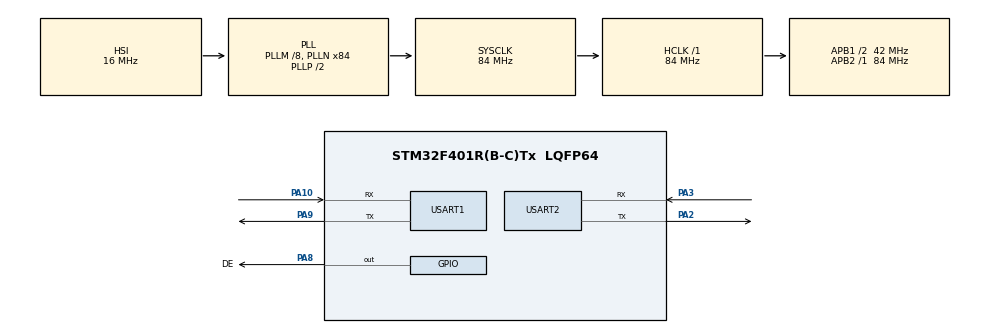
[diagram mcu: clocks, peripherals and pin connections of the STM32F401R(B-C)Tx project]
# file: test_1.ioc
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FREERTOS.Mutexes01=xMutexTelemetry,Dynamic,NULL,Available
FREERTOS.Queues01=xQueueControl,1,uint32_t,0,Dynamic,NULL,NULL
FREERTOS.Tasks01=ControlTask,40,256,StartControlTask,Default,NULL,Dynamic,NULL,NULL;TelemetryTask,24,256,StartTelemetryTask,Default,NULL,Dynamic,NULL,NULL
FREERTOS.configTOTAL_HEAP_SIZE=20480
Mcu.Family=STM32F4
Mcu.Name=STM32F401R(B-C)Tx
Mcu.Package=LQFP64
NVIC.PriorityGroup=NVIC_PRIORITYGROUP_4
NVIC.TIM1_UP_TIM10_IRQn=true\:15\:0\:false\:false\:true\:false\:false\:true\:true
NVIC.TimeBase=TIM1_UP_TIM10_IRQn
NVIC.TimeBaseIP=TIM1
NVIC.USART1_IRQn=true\:5\:0\:false\:false\:true\:true\:true\:true\:true
NVIC.USART2_IRQn=true\:5\:0\:false\:false\:true\:true\:true\:true\:true
PA10.Mode=Asynchronous
PA10.Signal=USART1_RX
PA13.Mode=Serial_Wire
PA13.Signal=SYS_JTMS-SWDIO
PA14.Mode=Serial_Wire
PA14.Signal=SYS_JTCK-SWCLK
PA2.Mode=Asynchronous
PA2.Signal=USART2_TX
PA3.Mode=Asynchronous
PA3.Signal=USART2_RX
PA8.GPIO_Label=DE
PA8.Signal=GPIO_Output
PA9.Mode=Asynchronous
PA9.Signal=USART1_TX
PH0\ -\ OSC_IN.Mode=HSE-External-Oscillator
PH0\ -\ OSC_IN.Signal=RCC_OSC_IN
PH1\ -\ OSC_OUT.Mode=HSE-External-Oscillator
PH1\ -\ OSC_OUT.Signal=RCC_OSC_OUT
ProjectManager.HeapSize=0x200
ProjectManager.StackSize=0x400
ProjectManager.TargetToolchain=STM32CubeIDE
RCC.48MHZClocksFreq_Value=42000000
RCC.AHBFreq_Value=84000000
RCC.APB1CLKDivider=RCC_HCLK_DIV2
RCC.APB1Freq_Value=42000000
RCC.APB1TimFreq_Value=84000000
RCC.APB2Freq_Value=84000000
RCC.APB2TimFreq_Value=84000000
RCC.CortexFreq_Value=84000000
RCC.HCLKFreq_Value=84000000
RCC.HSE_VALUE=25000000
RCC.HSI_VALUE=16000000
RCC.LSE_VALUE=32768
RCC.PLLM=8
RCC.PLLN=84
RCC.SYSCLKFreq_VALUE=84000000
RCC.SYSCLKSource=RCC_SYSCLKSOURCE_PLLCLK
RCC.VCOOutputFreq_Value=168000000
USART1.VirtualMode=VM_ASYNC
USART2.VirtualMode=VM_ASYNC
VP_FREERTOS_VS_CMSIS_V2.Mode=CMSIS_V2
VP_SYS_VS_tim1.Mode=TIM1
board=custom

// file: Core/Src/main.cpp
/* USER CODE BEGIN Header */
/**
  ******************************************************************************
  * @file           : main.c
  * @brief          : Main program body
  ******************************************************************************
  * @attention
  *
  * Copyright (c) 2026 STMicroelectronics.
  * All rights reserved.
  *
  * This software is licensed under terms that can be found in the LICENSE file
  * in the root directory of this software component.
  * If no LICENSE file comes with this software, it is provided AS-IS.
  *
  ******************************************************************************
  */
/* USER CODE END Header */
#include "main.h"
#include "cmsis_os.h"
#include "usart.h"
#include "gpio.h"

/* USER CODE BEGIN Includes */
#include "modbus_crc.h"
#include <string.h>
#include <stdio.h>
#include <stdlib.h>
#include <stdbool.h>
/* USER CODE END Includes */

/* USER CODE BEGIN PD */
#define SLAVE_ID           5
#define ESP_RX_BUFFER_SIZE 128
/* USER CODE END PD */

/* USER CODE BEGIN PV */
extern osMessageQueueId_t xQueueControlHandle;
ModbusMaster modbus(&huart1, DE_GPIO_Port, DE_Pin);

uint8_t  esp_rx_byte;
uint8_t  esp_rx_buffer[ESP_RX_BUFFER_SIZE];
uint8_t  esp_rx_index = 0;

/* Shared telemetry — protected by xMutexTelemetry */
float g_tds      = 0.0f;
float g_temp     = 0.0f;
float g_flow     = 0.0f;
float g_pressure = 0.0f;
float g_diff     = 0.0f;

/* Shared control state — written from ControlTask only */
volatile bool  g_pump_status = false;
volatile float g_pump_speed  = 0.0f;
volatile float g_target_pres = 3.5f;
/* USER CODE END PV */

void SystemClock_Config(void);
void MX_FREERTOS_Init(void);
/* USER CODE BEGIN PFP */
void start_esp_bridge_rx(void);
void flush_modbus_uart(void);
void parse_esp_command(const char* line);
/* USER CODE END PFP */

/* USER CODE BEGIN 0 */
void start_esp_bridge_rx(void) {
    __HAL_UART_CLEAR_FLAG(&huart2, UART_FLAG_ORE | UART_FLAG_NE | UART_FLAG_FE | UART_FLAG_PE);
    HAL_UART_Receive_IT(&huart2, &esp_rx_byte, 1);
}

void flush_modbus_uart(void) {
    __HAL_UART_CLEAR_FLAG(&huart1, UART_FLAG_ORE | UART_FLAG_NE | UART_FLAG_FE | UART_FLAG_PE);
    __HAL_UART_FLUSH_DRREGISTER(&huart1);
    volatile uint32_t tmpreg = huart1.Instance->SR;
    tmpreg = huart1.Instance->DR;
    (void)tmpreg;
}

void parse_esp_command(const char* line) {
    if (strstr(line, "CMD:PUMP_ON") != NULL) {
        g_pump_status = true;
    } else if (strstr(line, "CMD:PUMP_OFF") != NULL) {
        g_pump_status = false;
        g_pump_speed  = 0.0f;
        return;
    } else {
        return;
    }
    const char* speed_ptr = strstr(line, "SPEED:");
    if (speed_ptr != NULL) g_pump_speed = strtof(speed_ptr + 6, NULL);
    const char* pres_ptr = strstr(line, "PRES_SP:");
    if (pres_ptr != NULL) g_target_pres = strtof(pres_ptr + 8, NULL);
}

void HAL_UART_RxCpltCallback(UART_HandleTypeDef *huart) {
    if (huart->Instance == USART2) {
        if (esp_rx_index == 0 && esp_rx_byte != 'C') {
            HAL_UART_Receive_IT(&huart2, &esp_rx_byte, 1);
            return;
        }
        if (esp_rx_byte == '\n' || esp_rx_byte == '\r') {
            if (esp_rx_index > 0) {
                esp_rx_buffer[esp_rx_index] = '\0';
                /* بدل new_control_flag — نبعت على Queue من ISR */
                uint32_t msg = 1;
                osMessageQueuePut(xQueueControlHandle, &msg, 0, 0);
            }
            esp_rx_index = 0;
        } else {
            if (esp_rx_index < (ESP_RX_BUFFER_SIZE - 1))
                esp_rx_buffer[esp_rx_index++] = esp_rx_byte;
            else
                esp_rx_index = 0;
        }
        __HAL_UART_CLEAR_FLAG(&huart2, UART_FLAG_ORE | UART_FLAG_NE);
        HAL_UART_Receive_IT(&huart2, &esp_rx_byte, 1);
    }
}

void HAL_UART_ErrorCallback(UART_HandleTypeDef *huart) {
    if (huart->Instance == USART2) {
        volatile uint32_t tmpreg = huart->Instance->SR;
        tmpreg = huart->Instance->DR;
        (void)tmpreg;
        __HAL_UART_CLEAR_FLAG(huart, UART_FLAG_ORE | UART_FLAG_NE | UART_FLAG_FE | UART_FLAG_PE);
        esp_rx_index = 0;
        HAL_UART_Receive_IT(huart, &esp_rx_byte, 1);
    }
    if (huart->Instance == USART1)
        __HAL_UART_CLEAR_FLAG(huart, UART_FLAG_ORE | UART_FLAG_NE | UART_FLAG_FE | UART_FLAG_PE);
}
/* USER CODE END 0 */

int main(void)
{

  /* MCU Configuration--------------------------------------------------------*/

  /* Reset of all peripherals, Initializes the Flash interface and the Systick. */
  HAL_Init();

  /* Configure the system clock */
  SystemClock_Config();

  /* Initialize all configured peripherals */
  MX_GPIO_Init();
  MX_USART1_UART_Init();
  MX_USART2_UART_Init();
  /* USER CODE BEGIN 2 */
  flush_modbus_uart();
  HAL_Delay(500);
  start_esp_bridge_rx();
  __HAL_UART_CLEAR_FLAG(&huart2, UART_FLAG_TC);
  HAL_Delay(100);
  /* USER CODE END 2 */

  /* Init scheduler */
  osKernelInitialize();  /* Call init function for freertos objects (in cmsis_os2.c) */
  MX_FREERTOS_Init();

  /* Start scheduler */
  osKernelStart();

  /* We should never get here as control is now taken by the scheduler */

  /* Infinite loop */
  while (1)
  {

  }
}

void SystemClock_Config(void)
{
  RCC_OscInitTypeDef RCC_OscInitStruct = {0};
  RCC_ClkInitTypeDef RCC_ClkInitStruct = {0};

  /** Configure the main internal regulator output voltage
  */
  __HAL_RCC_PWR_CLK_ENABLE();
  __HAL_PWR_VOLTAGESCALING_CONFIG(PWR_REGULATOR_VOLTAGE_SCALE2);

  /** Initializes the RCC Oscillators according to the specified parameters
  * in the RCC_OscInitTypeDef structure.
  */
  RCC_OscInitStruct.OscillatorType = RCC_OSCILLATORTYPE_HSI;
  RCC_OscInitStruct.HSIState = RCC_HSI_ON;
  RCC_OscInitStruct.HSICalibrationValue = RCC_HSICALIBRATION_DEFAULT;
  RCC_OscInitStruct.PLL.PLLState = RCC_PLL_ON;
  RCC_OscInitStruct.PLL.PLLSource = RCC_PLLSOURCE_HSI;
  RCC_OscInitStruct.PLL.PLLM = 8;
  RCC_OscInitStruct.PLL.PLLN = 84;
  RCC_OscInitStruct.PLL.PLLP = RCC_PLLP_DIV2;
  RCC_OscInitStruct.PLL.PLLQ = 4;
  if (HAL_RCC_OscConfig(&RCC_OscInitStruct) != HAL_OK)
  {
    Error_Handler();
  }

  /** Initializes the CPU, AHB and APB buses clocks
  */
  RCC_ClkInitStruct.ClockType = RCC_CLOCKTYPE_HCLK|RCC_CLOCKTYPE_SYSCLK
                              |RCC_CLOCKTYPE_PCLK1|RCC_CLOCKTYPE_PCLK2;
  RCC_ClkInitStruct.SYSCLKSource = RCC_SYSCLKSOURCE_PLLCLK;
  RCC_ClkInitStruct.AHBCLKDivider = RCC_SYSCLK_DIV1;
  RCC_ClkInitStruct.APB1CLKDivider = RCC_HCLK_DIV2;
  RCC_ClkInitStruct.APB2CLKDivider = RCC_HCLK_DIV1;

  if (HAL_RCC_ClockConfig(&RCC_ClkInitStruct, FLASH_LATENCY_2) != HAL_OK)
  {
    Error_Handler();
  }
}

void HAL_TIM_PeriodElapsedCallback(TIM_HandleTypeDef *htim)
{
  if (htim->Instance == TIM1)
  {
    HAL_IncTick();
  }
}

void Error_Handler(void)
{
  __disable_irq();
  while (1)
  {
  }
}
